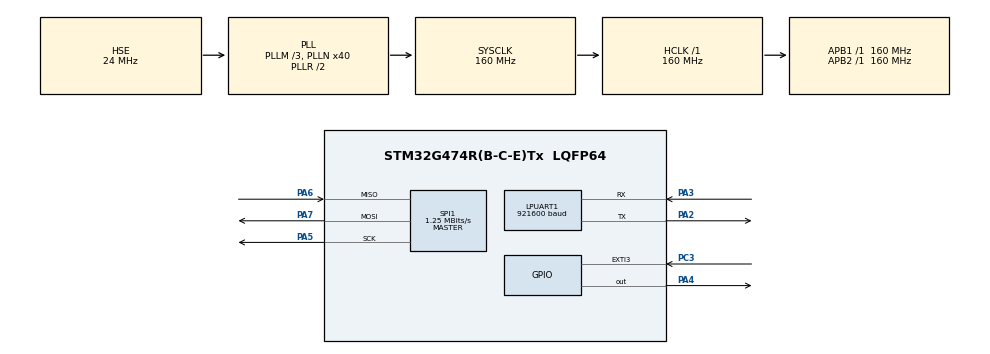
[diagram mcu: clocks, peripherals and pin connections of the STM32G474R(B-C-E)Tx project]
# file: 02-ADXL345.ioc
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Dma.Request0=SPI1_RX
Dma.Request1=SPI1_TX
Dma.SPI1_RX.0.Direction=DMA_PERIPH_TO_MEMORY
Dma.SPI1_RX.0.EventEnable=DISABLE
Dma.SPI1_RX.0.Instance=DMA1_Channel1
Dma.SPI1_RX.0.MemDataAlignment=DMA_MDATAALIGN_BYTE
Dma.SPI1_RX.0.MemInc=DMA_MINC_ENABLE
Dma.SPI1_RX.0.Mode=DMA_NORMAL
Dma.SPI1_RX.0.PeriphDataAlignment=DMA_PDATAALIGN_BYTE
Dma.SPI1_RX.0.PeriphInc=DMA_PINC_DISABLE
Dma.SPI1_RX.0.Polarity=HAL_DMAMUX_REQ_GEN_RISING
Dma.SPI1_RX.0.Priority=DMA_PRIORITY_LOW
Dma.SPI1_RX.0.RequestNumber=1
Dma.SPI1_RX.0.SignalID=NONE
Dma.SPI1_RX.0.SyncEnable=DISABLE
Dma.SPI1_RX.0.SyncPolarity=HAL_DMAMUX_SYNC_NO_EVENT
Dma.SPI1_RX.0.SyncRequestNumber=1
Dma.SPI1_RX.0.SyncSignalID=NONE
Dma.SPI1_TX.1.Direction=DMA_MEMORY_TO_PERIPH
Dma.SPI1_TX.1.EventEnable=DISABLE
Dma.SPI1_TX.1.Instance=DMA1_Channel2
Dma.SPI1_TX.1.MemDataAlignment=DMA_MDATAALIGN_BYTE
Dma.SPI1_TX.1.MemInc=DMA_MINC_ENABLE
Dma.SPI1_TX.1.Mode=DMA_NORMAL
Dma.SPI1_TX.1.PeriphDataAlignment=DMA_PDATAALIGN_BYTE
Dma.SPI1_TX.1.PeriphInc=DMA_PINC_DISABLE
Dma.SPI1_TX.1.Polarity=HAL_DMAMUX_REQ_GEN_RISING
Dma.SPI1_TX.1.Priority=DMA_PRIORITY_LOW
Dma.SPI1_TX.1.RequestNumber=1
Dma.SPI1_TX.1.SignalID=NONE
Dma.SPI1_TX.1.SyncEnable=DISABLE
Dma.SPI1_TX.1.SyncPolarity=HAL_DMAMUX_SYNC_NO_EVENT
Dma.SPI1_TX.1.SyncRequestNumber=1
Dma.SPI1_TX.1.SyncSignalID=NONE
FREERTOS.Tasks01=defaultTask,24,512,StartDefaultTask,Default,NULL,Dynamic,NULL,NULL
FREERTOS.configUSE_NEWLIB_REENTRANT=1
LPUART1.BaudRate=921600
Mcu.Family=STM32G4
Mcu.Name=STM32G474R(B-C-E)Tx
Mcu.Package=LQFP64
NVIC.DMA1_Channel1_IRQn=true\:5\:0\:false\:false\:true\:true\:false\:true\:true
NVIC.DMA1_Channel2_IRQn=true\:5\:0\:false\:false\:true\:true\:false\:true\:true
NVIC.EXTI3_IRQn=true\:5\:0\:false\:false\:true\:true\:true\:true\:true
NVIC.PriorityGroup=NVIC_PRIORITYGROUP_4
NVIC.TIM6_DAC_IRQn=true\:15\:0\:false\:false\:true\:false\:false\:true\:true
NVIC.TimeBase=TIM6_DAC_IRQn
NVIC.TimeBaseIP=TIM6
PA2.Mode=Asynchronous
PA2.Signal=LPUART1_TX
PA3.Mode=Asynchronous
PA3.Signal=LPUART1_RX
PA4.PinState=GPIO_PIN_SET
PA4.Signal=GPIO_Output
PA5.Mode=Full_Duplex_Master
PA5.Signal=SPI1_SCK
PA6.Mode=Full_Duplex_Master
PA6.Signal=SPI1_MISO
PA7.Mode=Full_Duplex_Master
PA7.Signal=SPI1_MOSI
PC3.Signal=GPXTI3
PF0-OSC_IN.Mode=HSE-External-Oscillator
PF0-OSC_IN.Signal=RCC_OSC_IN
PF1-OSC_OUT.Mode=HSE-External-Oscillator
PF1-OSC_OUT.Signal=RCC_OSC_OUT
ProjectManager.HeapSize=0x200
ProjectManager.StackSize=0x400
ProjectManager.TargetToolchain=STM32CubeIDE
RCC.ADC12Freq_Value=160000000
RCC.ADC345Freq_Value=160000000
RCC.AHBFreq_Value=160000000
RCC.APB1Freq_Value=160000000
RCC.APB1TimFreq_Value=160000000
RCC.APB2Freq_Value=160000000
RCC.APB2TimFreq_Value=160000000
RCC.CortexFreq_Value=160000000
RCC.EXTERNAL_CLOCK_VALUE=12288000
RCC.HCLKFreq_Value=160000000
RCC.HSE_VALUE=24000000
RCC.HSI48_VALUE=48000000
RCC.HSI_VALUE=16000000
RCC.LSE_VALUE=32768
RCC.PLLM=RCC_PLLM_DIV3
RCC.PLLN=40
RCC.PLLSourceVirtual=RCC_PLLSOURCE_HSE
RCC.SYSCLKFreq_VALUE=160000000
RCC.SYSCLKSource=RCC_SYSCLKSOURCE_PLLCLK
RCC.USBFreq_Value=160000000
RCC.VCOOutputFreq_Value=320000000
SPI1.BaudRatePrescaler=SPI_BAUDRATEPRESCALER_128
SPI1.CLKPhase=SPI_PHASE_2EDGE
SPI1.CLKPolarity=SPI_POLARITY_HIGH
SPI1.CalculateBaudRate=1.25 MBits/s
SPI1.DataSize=SPI_DATASIZE_8BIT
SPI1.Direction=SPI_DIRECTION_2LINES
SPI1.Mode=SPI_MODE_MASTER
SPI1.VirtualType=VM_MASTER
VP_FREERTOS_VS_CMSIS_V2.Mode=CMSIS_V2
VP_SYS_VS_DBSignals.Mode=DisableDeadBatterySignals
VP_SYS_VS_tim6.Mode=TIM6
board=custom

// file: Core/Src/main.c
/* USER CODE BEGIN Header */
/**
  ******************************************************************************
  * @file           : main.c
  * @brief          : Main program body
  ******************************************************************************
  * @attention
  *
  * Copyright (c) 2025 STMicroelectronics.
  * All rights reserved.
  *
  * This software is licensed under terms that can be found in the LICENSE file
  * in the root directory of this software component.
  * If no LICENSE file comes with this software, it is provided AS-IS.
  *
  ******************************************************************************
  */
/* USER CODE END Header */
#include "main.h"
#include "cmsis_os.h"

/* USER CODE BEGIN Includes */
#include <stdio.h>
#include <stdlib.h>
#include "adxl345.h"
#include "spiDevice.h"
/* USER CODE END Includes */

/* USER CODE BEGIN PD */
#define ACC_STACK_SIZE			512
#define ACC_MESSAGES_SIZE		128
#define RECEIVE_BUFFER_SIZE		8
/* USER CODE END PD */

UART_HandleTypeDef hlpuart1;

SPI_HandleTypeDef hspi1;
DMA_HandleTypeDef hdma_spi1_rx;
DMA_HandleTypeDef hdma_spi1_tx;

/* Definitions for defaultTask */
osThreadId_t defaultTaskHandle;
const osThreadAttr_t defaultTask_attributes = {
  .name = "defaultTask",
  .priority = (osPriority_t) osPriorityNormal,
  .stack_size = 512 * 4
};
/* USER CODE BEGIN PV */

ADXL345 acc;
StackType_t accStack[ACC_STACK_SIZE];
uint8_t accMessageStorage[ACC_MESSAGES_SIZE];
SpiDevice spi1;
uint8_t receiveBuffer[RECEIVE_BUFFER_SIZE];

/* USER CODE END PV */

void SystemClock_Config(void);
static void MX_GPIO_Init(void);
static void MX_DMA_Init(void);
static void MX_SPI1_Init(void);
static void MX_LPUART1_UART_Init(void);
void StartDefaultTask(void *argument);

/* USER CODE BEGIN 0 */
int __io_putchar(int ch)
{
	HAL_UART_Transmit(&hlpuart1, (const uint8_t *)&ch, 1, HAL_MAX_DELAY);
	return ch;
}

static char GetGSign(int32_t value)
{
	if(value >= 0)
	{
		return '+';
	}
	else
	{
		return '-';
	}
}

static int32_t GetGIntegerPart(int32_t value)
{
	return abs(value) / 256;
}

static int32_t GetGFractionPart(int32_t value)
{
	return (abs(value) % 256) * 100 / 256;
}

/* USER CODE END 0 */

int main(void)
{

  /* MCU Configuration--------------------------------------------------------*/

  /* Reset of all peripherals, Initializes the Flash interface and the Systick. */
  HAL_Init();

  /* Configure the system clock */
  SystemClock_Config();

  /* Initialize all configured peripherals */
  MX_GPIO_Init();
  MX_DMA_Init();
  MX_SPI1_Init();
  MX_LPUART1_UART_Init();

  /* Init scheduler */
  osKernelInitialize();

  /* Create the thread(s) */
  /* creation of defaultTask */
  defaultTaskHandle = osThreadNew(StartDefaultTask, NULL, &defaultTask_attributes);

  /* Start scheduler */
  osKernelStart();

  /* We should never get here as control is now taken by the scheduler */

  /* Infinite loop */
  while (1)
  {

  }
}

void SystemClock_Config(void)
{
  RCC_OscInitTypeDef RCC_OscInitStruct = {0};
  RCC_ClkInitTypeDef RCC_ClkInitStruct = {0};

  /** Configure the main internal regulator output voltage
  */
  HAL_PWREx_ControlVoltageScaling(PWR_REGULATOR_VOLTAGE_SCALE1_BOOST);

  /** Initializes the RCC Oscillators according to the specified parameters
  * in the RCC_OscInitTypeDef structure.
  */
  RCC_OscInitStruct.OscillatorType = RCC_OSCILLATORTYPE_HSE;
  RCC_OscInitStruct.HSEState = RCC_HSE_ON;
  RCC_OscInitStruct.PLL.PLLState = RCC_PLL_ON;
  RCC_OscInitStruct.PLL.PLLSource = RCC_PLLSOURCE_HSE;
  RCC_OscInitStruct.PLL.PLLM = RCC_PLLM_DIV3;
  RCC_OscInitStruct.PLL.PLLN = 40;
  RCC_OscInitStruct.PLL.PLLP = RCC_PLLP_DIV2;
  RCC_OscInitStruct.PLL.PLLQ = RCC_PLLQ_DIV2;
  RCC_OscInitStruct.PLL.PLLR = RCC_PLLR_DIV2;
  if (HAL_RCC_OscConfig(&RCC_OscInitStruct) != HAL_OK)
  {
    Error_Handler();
  }

  /** Initializes the CPU, AHB and APB buses clocks
  */
  RCC_ClkInitStruct.ClockType = RCC_CLOCKTYPE_HCLK|RCC_CLOCKTYPE_SYSCLK
                              |RCC_CLOCKTYPE_PCLK1|RCC_CLOCKTYPE_PCLK2;
  RCC_ClkInitStruct.SYSCLKSource = RCC_SYSCLKSOURCE_PLLCLK;
  RCC_ClkInitStruct.AHBCLKDivider = RCC_SYSCLK_DIV1;
  RCC_ClkInitStruct.APB1CLKDivider = RCC_HCLK_DIV1;
  RCC_ClkInitStruct.APB2CLKDivider = RCC_HCLK_DIV1;

  if (HAL_RCC_ClockConfig(&RCC_ClkInitStruct, FLASH_LATENCY_4) != HAL_OK)
  {
    Error_Handler();
  }
}

static void MX_LPUART1_UART_Init(void)
{

  hlpuart1.Instance = LPUART1;
  hlpuart1.Init.BaudRate = 921600;
  hlpuart1.Init.WordLength = UART_WORDLENGTH_8B;
  hlpuart1.Init.StopBits = UART_STOPBITS_1;
  hlpuart1.Init.Parity = UART_PARITY_NONE;
  hlpuart1.Init.Mode = UART_MODE_TX_RX;
  hlpuart1.Init.HwFlowCtl = UART_HWCONTROL_NONE;
  hlpuart1.Init.OneBitSampling = UART_ONE_BIT_SAMPLE_DISABLE;
  hlpuart1.Init.ClockPrescaler = UART_PRESCALER_DIV1;
  hlpuart1.AdvancedInit.AdvFeatureInit = UART_ADVFEATURE_NO_INIT;
  if (HAL_UART_Init(&hlpuart1) != HAL_OK)
  {
    Error_Handler();
  }
  if (HAL_UARTEx_SetTxFifoThreshold(&hlpuart1, UART_TXFIFO_THRESHOLD_1_8) != HAL_OK)
  {
    Error_Handler();
  }
  if (HAL_UARTEx_SetRxFifoThreshold(&hlpuart1, UART_RXFIFO_THRESHOLD_1_8) != HAL_OK)
  {
    Error_Handler();
  }
  if (HAL_UARTEx_DisableFifoMode(&hlpuart1) != HAL_OK)
  {
    Error_Handler();
  }

}

static void MX_SPI1_Init(void)
{

  /* SPI1 parameter configuration*/
  hspi1.Instance = SPI1;
  hspi1.Init.Mode = SPI_MODE_MASTER;
  hspi1.Init.Direction = SPI_DIRECTION_2LINES;
  hspi1.Init.DataSize = SPI_DATASIZE_8BIT;
  hspi1.Init.CLKPolarity = SPI_POLARITY_HIGH;
  hspi1.Init.CLKPhase = SPI_PHASE_2EDGE;
  hspi1.Init.NSS = SPI_NSS_SOFT;
  hspi1.Init.BaudRatePrescaler = SPI_BAUDRATEPRESCALER_128;
  hspi1.Init.FirstBit = SPI_FIRSTBIT_MSB;
  hspi1.Init.TIMode = SPI_TIMODE_DISABLE;
  hspi1.Init.CRCCalculation = SPI_CRCCALCULATION_DISABLE;
  hspi1.Init.CRCPolynomial = 7;
  hspi1.Init.CRCLength = SPI_CRC_LENGTH_DATASIZE;
  hspi1.Init.NSSPMode = SPI_NSS_PULSE_DISABLE;
  if (HAL_SPI_Init(&hspi1) != HAL_OK)
  {
    Error_Handler();
  }

}

static void MX_DMA_Init(void)
{

  /* DMA controller clock enable */
  __HAL_RCC_DMAMUX1_CLK_ENABLE();
  __HAL_RCC_DMA1_CLK_ENABLE();

  /* DMA interrupt init */
  /* DMA1_Channel1_IRQn interrupt configuration */
  HAL_NVIC_SetPriority(DMA1_Channel1_IRQn, 5, 0);
  HAL_NVIC_EnableIRQ(DMA1_Channel1_IRQn);
  /* DMA1_Channel2_IRQn interrupt configuration */
  HAL_NVIC_SetPriority(DMA1_Channel2_IRQn, 5, 0);
  HAL_NVIC_EnableIRQ(DMA1_Channel2_IRQn);

}

static void MX_GPIO_Init(void)
{
  GPIO_InitTypeDef GPIO_InitStruct = {0};

  /* GPIO Ports Clock Enable */
  __HAL_RCC_GPIOF_CLK_ENABLE();
  __HAL_RCC_GPIOC_CLK_ENABLE();
  __HAL_RCC_GPIOA_CLK_ENABLE();

  /*Configure GPIO pin Output Level */
  HAL_GPIO_WritePin(GPIOA, GPIO_PIN_4, GPIO_PIN_SET);

  /*Configure GPIO pin : PC3 */
  GPIO_InitStruct.Pin = GPIO_PIN_3;
  GPIO_InitStruct.Mode = GPIO_MODE_IT_RISING;
  GPIO_InitStruct.Pull = GPIO_NOPULL;
  HAL_GPIO_Init(GPIOC, &GPIO_InitStruct);

  /*Configure GPIO pin : PA4 */
  GPIO_InitStruct.Pin = GPIO_PIN_4;
  GPIO_InitStruct.Mode = GPIO_MODE_OUTPUT_PP;
  GPIO_InitStruct.Pull = GPIO_NOPULL;
  GPIO_InitStruct.Speed = GPIO_SPEED_FREQ_LOW;
  HAL_GPIO_Init(GPIOA, &GPIO_InitStruct);

  /* EXTI interrupt init*/
  HAL_NVIC_SetPriority(EXTI3_IRQn, 5, 0);
  HAL_NVIC_EnableIRQ(EXTI3_IRQn);

}

void StartDefaultTask(void *argument)
{
  /* USER CODE BEGIN 5 */

	spi1.hspi = &hspi1;
	SpiDivice_Initialize(&spi1);

	{
		ADXL345Settings settings;
		ADXL345Settings_Initialize(&settings);

		settings.spi = &spi1;
		settings.stackDepth = ACC_STACK_SIZE;
		settings.stackBuffer = accStack;
		settings.messagesSize = ACC_MESSAGES_SIZE;
		settings.messagesStorageArea = accMessageStorage;
		settings.ssGpio = GPIOA;
		settings.ssPin = GPIO_PIN_4;

		ADXL345_Initialize(&acc, &settings);
	}

	// Read device ID
	uint8_t deviceId = 0;
	ADXL345_ReadDevid(&acc, &deviceId);
	printf("ADXL345 DEVID=%X\r\n", deviceId);

	// Disable all interrupts
	ADXL345_WriteIntEnable(&acc, 0);

	// Clean interrupt flags
	uint8_t intSource = 0;
	ADXL345_ReadIntSource(&acc, &intSource);

	// Enable FULL_RES
	ADXL345_WriteFullRes(&acc, 1);

	// Range=±16 g
	ADXL345_WriteRange(&acc, ADXL345Range_16);

	// Set output rate to 12.5 Hz
	ADXL345_WriteOutputRate(&acc, ADXL345OutputRate_6_25);

	// Setup single tap parameters
	ADXL345_WriteThreshTap(&acc, 40); // 62.5 mg * 40 = 2.5 g
	ADXL345_WriteDur(&acc, 32); // 625us * 32 = 20 ms
	ADXL345_WriteTapAxes(&acc, ADXL345TapAxes_X | ADXL345TapAxes_Y | ADXL345TapAxes_Z);

	// All interrupts maps to INT_1
	ADXL345_WriteIntMap(&acc, 0);

	// Enable DATA_READY interrupt
	ADXL345_WriteIntEnable(&acc, ADXL345IntEnable_DataReady | ADXL345IntEnable_SingleTap);

	// start measure
	ADXL345_WriteMeasure(&acc, 1);

	/* Infinite loop */
	int32_t counter = 0;
	for(;;)
	{
		size_t bytesReceived = xMessageBufferReceive(
			acc.messages,
			receiveBuffer,
			RECEIVE_BUFFER_SIZE,
			pdMS_TO_TICKS(1000));

		if(bytesReceived > 0)
		{
			ADXL345Event event = receiveBuffer[0];
			if(event == ADXL345Event_Data)
			{
				++counter;

				int16_t x = *((int16_t*)(receiveBuffer + 1));
				int16_t y = *((int16_t*)(receiveBuffer + 3));
				int16_t z = *((int16_t*)(receiveBuffer + 5));
				printf("%ld: x=%c%ld.%ldg, y=%c%ld.%ldg, z=%c%ld.%ldg\r\n",
					counter,
					GetGSign(x), GetGIntegerPart(x), GetGFractionPart(x),
					GetGSign(y), GetGIntegerPart(y), GetGFractionPart(y),
					GetGSign(z), GetGIntegerPart(z), GetGFractionPart(z));
			}
			else if(event == ADXL345Event_Interrupt)
			{
				uint8_t intSource = receiveBuffer[1];
				if(intSource & ADXL345IntEnable_SingleTap)
				{
					printf("Single Tap\r\n");
				}
			}
		}

	}
  /* USER CODE END 5 */
}

void HAL_TIM_PeriodElapsedCallback(TIM_HandleTypeDef *htim)
{
  if (htim->Instance == TIM6)
  {
    HAL_IncTick();
  }
}

void Error_Handler(void)
{
  __disable_irq();
  while (1)
  {
  }
}
